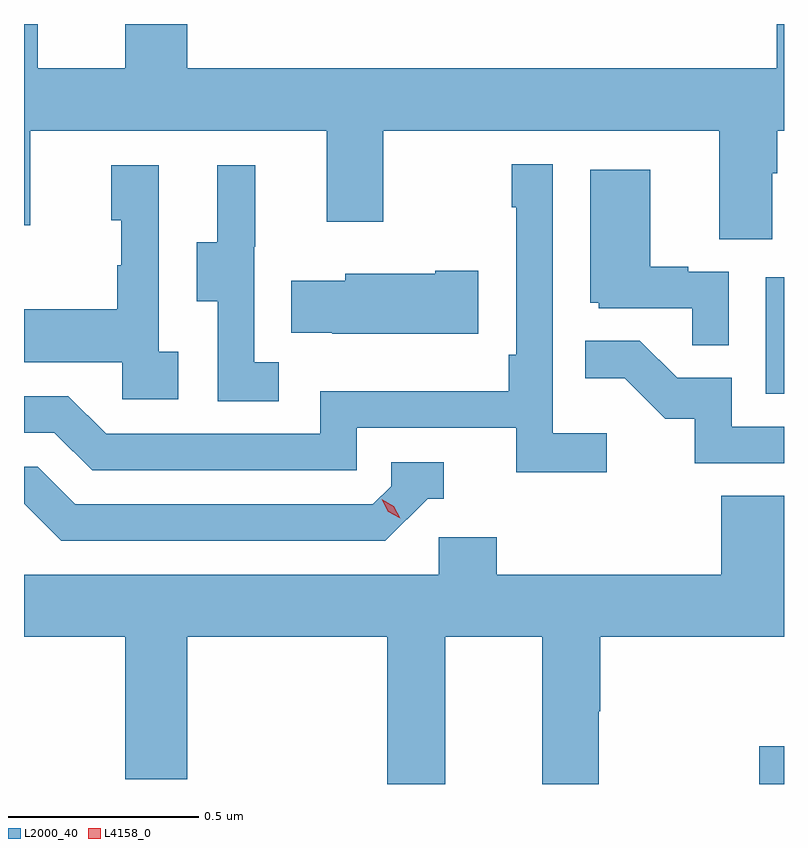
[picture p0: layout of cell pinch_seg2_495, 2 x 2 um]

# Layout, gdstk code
import gdstk
lib = gdstk.Library(unit=1e-6, precision=1e-09)
def R(c, l, rs):  # rectangles x0, y0, x1, y1
    for r in rs: c.add(gdstk.rectangle(r[:2], r[2:], *l))
def P(c, l, *ps):  # polygons
    for p in ps: c.add(gdstk.Polygon(p, *l))
L2000_40 = (2000, 40)
L4158_0 = (4158, 0)

pinch_seg2_495 = lib.new_cell('pinch_seg2_495')
R(pinch_seg2_495, L2000_40, [(945.897,588.641,945.962,588.74), (945.914,589.668,945.962,589.975)])
P(pinch_seg2_495, L2000_40, [(945.931,590.248),(945.944,590.248),(945.944,590.36),(945.962,590.36),(945.962,590.641),(945.943,590.641),(945.943,590.524),(944.392,590.524),(944.392,590.641),(944.228,590.641),(944.228,590.524),(943.998,590.524),(943.998,590.641),(943.962,590.641),(943.962,590.112),(943.979,590.112),(943.979,590.36),(944.759,590.36),(944.759,590.121),(944.907,590.121),(944.907,590.36),(945.791,590.36),(945.791,590.074),(945.931,590.074)],
  [(945.496,589.564),(945.354,589.564),(945.354,590.272),(945.246,590.272),(945.246,590.159),(945.258,590.159),(945.258,589.771),(945.238,589.771),(945.238,589.675),(944.742,589.675),(944.742,589.563),(944.178,589.563),(944.079,589.662),(943.962,589.662),(943.962,589.566),(944.042,589.566),(944.141,589.467),(944.838,589.467),(944.838,589.578),(945.257,589.578),(945.257,589.462),(945.496,589.462)],
  [(944.368,589.778),(944.316,589.778),(944.316,590.269),(944.192,590.269),(944.192,590.124),(944.218,590.124),(944.218,590.006),(944.208,590.006),(944.208,589.891),(943.962,589.891),(943.962,589.751),(944.22,589.751),(944.22,589.653),(944.368,589.653)],
  [(944.632,589.751),(944.568,589.751),(944.568,590.055),(944.57,590.055),(944.57,590.269),(944.471,590.269),(944.471,590.067),(944.417,590.067),(944.417,589.912),(944.472,589.912),(944.472,589.648),(944.632,589.648)],
  [(945.816,589.989),(945.71,589.989),(945.71,590.002),(945.61,590.002),(945.61,590.257),(945.452,590.257),(945.452,589.908),(945.474,589.908),(945.474,589.893),(945.721,589.893),(945.721,589.795),(945.816,589.795)],
  [(945.157,589.992),(945.044,589.992),(945.044,589.984),(944.808,589.984),(944.808,589.966),(944.665,589.966),(944.665,589.829),(944.773,589.829),(944.773,589.826),(945.157,589.826)],
  [(945.962,589.581),(945.825,589.581),(945.825,589.71),(945.681,589.71),(945.583,589.808),(945.439,589.808),(945.439,589.709),(945.543,589.709),(945.65,589.602),(945.727,589.602),(945.727,589.485),(945.962,589.485)],
  [(945.024,589.392),(945.067,589.392),(945.067,589.488),(944.928,589.488),(944.928,589.425),(944.88,589.377),(944.097,589.377),(943.998,589.476),(943.962,589.476),(943.962,589.379),(944.06,589.281),(944.913,589.281)],
  [(945.07,589.028),(945.326,589.028),(945.326,588.641),(945.474,588.641),(945.474,588.832),(945.479,588.832),(945.479,589.028),(945.962,589.028),(945.962,589.4),(945.797,589.4),(945.797,589.192),(945.206,589.192),(945.206,589.29),(945.054,589.29),(945.054,589.192),(943.962,589.192),(943.962,589.028),(944.228,589.028),(944.228,588.654),(944.392,588.654),(944.392,589.028),(944.918,589.028),(944.918,588.641),(945.07,588.641)])
P(pinch_seg2_495, L4158_0, [(944.952,589.34),(944.921,589.358),(944.904,589.39),(944.904,589.391),(944.904,589.391),(944.935,589.372),(944.952,589.34),(944.952,589.34)])

lib.write_gds('pinch_seg2_495.gds')
